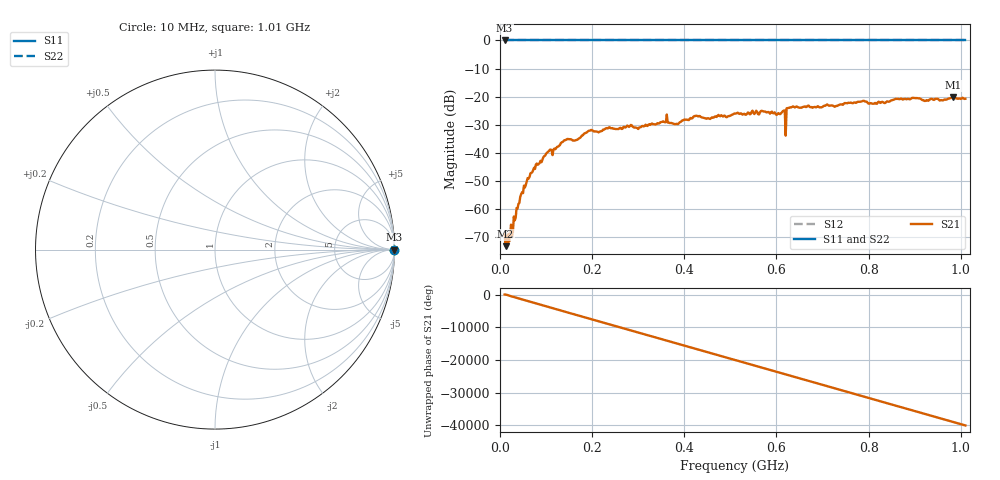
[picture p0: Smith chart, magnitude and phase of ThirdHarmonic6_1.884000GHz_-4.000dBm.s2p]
! 8/16/2025 10:45:18 PM
! C:\ANRITSUVNA\TEMP\TEMP.S2P
! CHANNEL.1
! TR.MEASUREMENT
! RAW.DATA
! RF.CORRECTION.OFF
! AVERAGING.OFF
! IF.BANDWIDTH: 5KHZ
! SWEEPTYPE:  FREQ.SWEEP(Linear)
! Reference Plane Port Info
! PORT:  PORT1  PORT2
! DISTANCE:  0  m  0  m
! TIME:  0  s  0  s
! PHASE.OFFSET:  0  deg.  0  deg.
! LOSS:  0  dB  0  dB
! REF.LOSS:  0  dB  0  dB
! REF.FREQ:  0  Hz  0  Hz
! Power Info
! POWER:  -20  dBm  -20  dBm
! EFF.POWER:  -20  dBm  -20  dBm
! SOURCE.ATTEN:  0  dB  0  dB
! TEST.ATTEN:  0  dB  0  dB
# GHZ S RI R 50.0
! FREQ.GHZ  S11RE  S11IM  S21RE  S21IM  S12RE  S12IM  S22RE  S22IM
!; PortSelection: Port_12
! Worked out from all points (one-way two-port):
!   501 points, 10 MHz to 1.01 GHz, reference 50 ohm
!   highest |S21| = -20.28 dB at 984 MHz (marker M1); lowest = -73.3 dB at 12 MHz (marker M2)
!   lowest |S11| = 0.0 dB at 10 MHz (marker M3)
!   |S11| at or under -10 dB: nowhere
!   |S22| runs from 0.0 to 0.0 dB; largest |S21 - S12| = 1.1
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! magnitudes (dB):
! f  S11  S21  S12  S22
! 10 MHz  0.0  -68.6  0.0  0.0
! 12 MHz  0.0  -73.3  0.0  0.0
! 16 MHz  0.0  -72.2  0.0  0.0
! 24 MHz  0.0  -65.7  0.0  0.0
! 48 MHz  0.0  -54.1  0.0  0.0
! 76 MHz  0.0  -45.8  0.0  0.0
! 104 MHz  0.0  -39.7  0.0  0.0
! 136 MHz  0.0  -36.2  0.0  0.0
! 178 MHz  0.0  -33.9  0.0  0.0
! 196 MHz  0.0  -32.1  0.0  0.0
! 344 MHz  0.0  -29.6  0.0  0.0
! 382 MHz  0.0  -29.8  0.0  0.0
! 424 MHz  0.0  -27.0  0.0  0.0
! 510 MHz  0.0  -26.0  0.0  0.0
! 614 MHz  0.0  -25.2  0.0  0.0
! 616 MHz  0.0  -25.0  0.0  0.0
! 624 MHz  0.0  -24.1  0.0  0.0
! 626 MHz  0.0  -24.1  0.0  0.0
! 678 MHz  0.0  -24.0  0.0  0.0
! 844 MHz  0.0  -21.9  0.0  0.0
! 984 MHz  0.0  -20.3  0.0  0.0
! 1.01 GHz  0.0  -20.8  0.0  0.0
